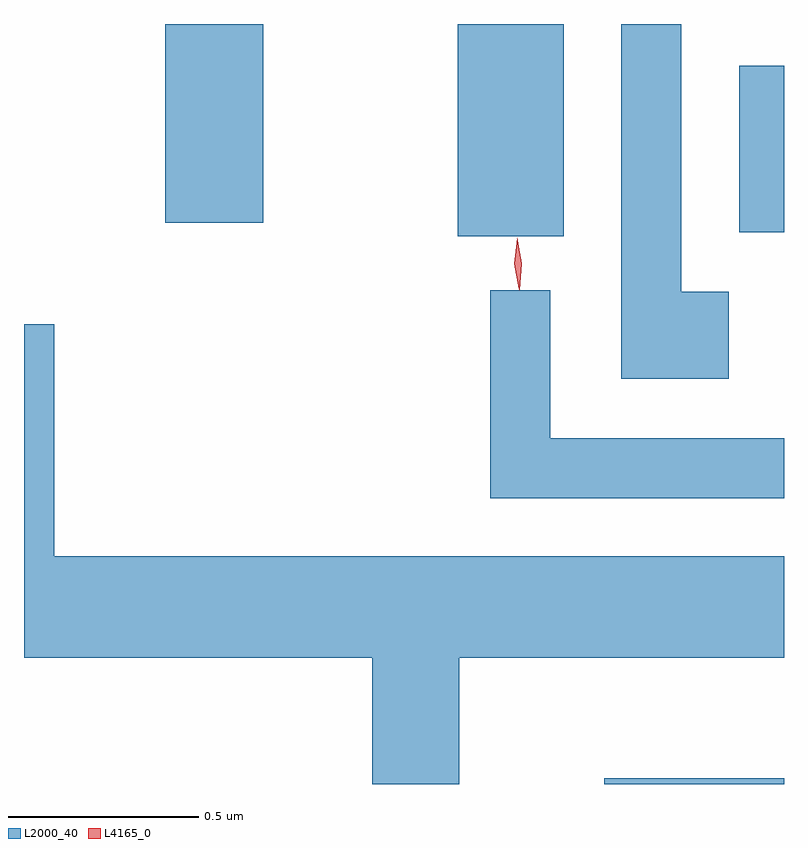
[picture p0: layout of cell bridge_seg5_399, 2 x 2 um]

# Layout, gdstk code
import gdstk
lib = gdstk.Library(unit=1e-6, precision=1e-09)
def R(c, l, rs):  # rectangles x0, y0, x1, y1
    for r in rs: c.add(gdstk.rectangle(r[:2], r[2:], *l))
def P(c, l, *ps):  # polygons
    for p in ps: c.add(gdstk.Polygon(p, *l))
L2000_40 = (2000, 40)
L4165_0 = (4165, 0)

bridge_seg5_399 = lib.new_cell('bridge_seg5_399')
R(bridge_seg5_399, L2000_40, [(596.411,1496.424,596.884,1496.439), (596.026,1497.866,596.304,1498.424), (596.766,1497.876,596.884,1498.314), (595.256,1497.901,595.514,1498.424)])
P(bridge_seg5_399, L2000_40, [(596.739,1497.719),(596.614,1497.719),(596.614,1498.424),(596.456,1498.424),(596.456,1497.491),(596.739,1497.491)],
  [(596.884,1497.334),(596.269,1497.334),(596.269,1497.723),(596.111,1497.723),(596.111,1497.176),(596.884,1497.176)],
  [(596.029,1496.756),(596.884,1496.756),(596.884,1497.024),(594.964,1497.024),(594.964,1497.634),(594.884,1497.634),(594.884,1496.756),(595.801,1496.756),(595.801,1496.424),(596.029,1496.424)])
P(bridge_seg5_399, L4165_0, [(596.186,1497.728),(596.186,1497.728),(596.174,1497.793),(596.182,1497.859),(596.182,1497.859),(596.182,1497.859),(596.194,1497.794),(596.186,1497.728)],
  [(596.187,1497.724),(596.187,1497.725),(596.175,1497.793),(596.182,1497.861),(596.182,1497.862),(596.182,1497.861),(596.194,1497.793),(596.188,1497.725)])

lib.write_gds('bridge_seg5_399.gds')
